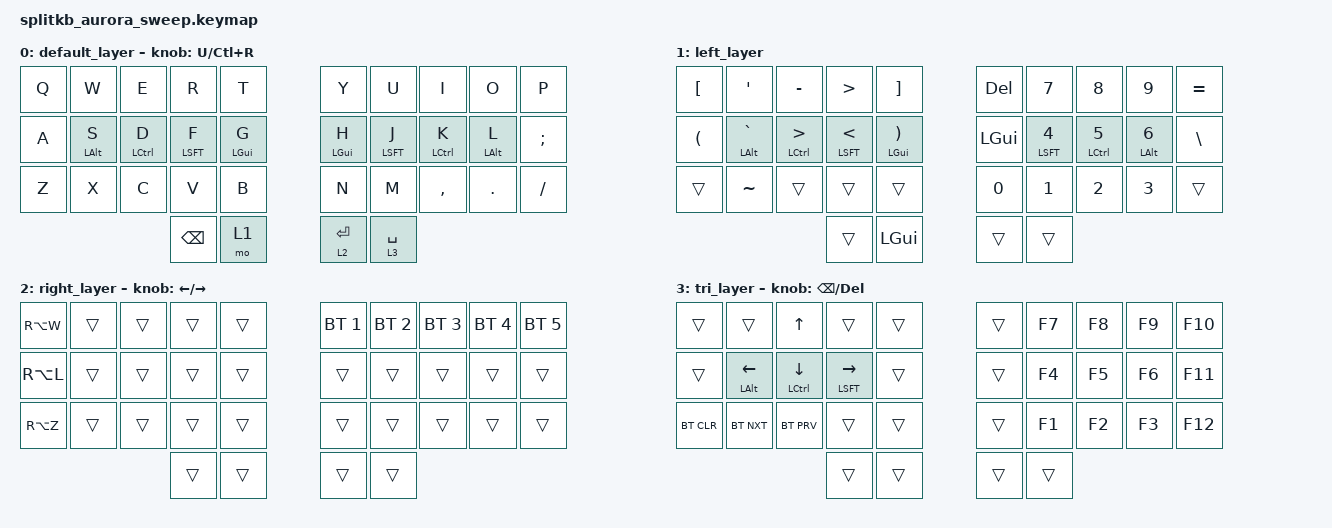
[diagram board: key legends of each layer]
/*
 * Copyright (c) 2022 The ZMK Contributors
 *
 * SPDX-License-Identifier: MIT
 */

#include <behaviors.dtsi>
#include <dt-bindings/zmk/keys.h>
#include <dt-bindings/zmk/bt.h>

#define LEFT_HAND_KEYS           \
        0  1  2  3  4            \
       10 11 12 13 14            \
       20 21 22 23 24
#define RIGHT_HAND_KEYS          \
        5  6  7  8  9            \
       15 16 17 18 19            \
       25 26 27 28 29
#define THUMB_KEYS 31 32 33 34

#define QUICKTAP 170
#define TAPPINGTERM 170

&lt {
  flavor = "balanced";
  tapping_term_ms = <180>;
  quick_tap_ms = <250>;
};

&sensors {
  triggers-per-rotation = <40>;
};

&caps_word {
  continue-list = <UNDERSCORE MINUS>;
};

/ {
    combos {
      compatible = "zmk,combos";
      combo_tab {
        timeout-ms = <30>;
        key-positions = <13 12>;
        bindings = <&kp TAB>;
      };

      combo_esc {
        timeout-ms = <30>;
        key-positions = <16 17>;
        bindings = <&kp ESC>;
      };
      combo_capsword {
        timeout-ms = <50>;
        key-positions = <13 16>;
        bindings = <&caps_word>;
      };
      combo_del {
        timeout-ms = <30>;
        key-positions = <6 7>;
        bindings = <&kp DEL>;
      };
      combo_bksp {
        timeout-ms = <30>;
        key-positions = <2 3>;
        bindings = <&kp BKSP>;
      };
    };
    
    behaviors {
        lht: left_positional_hold_tap {
            compatible = "zmk,behavior-hold-tap";
            #binding-cells = <2>;
            flavor = "balanced";
            tapping-term-ms = <TAPPINGTERM>;
            quick-tap-ms = <QUICKTAP>;
            bindings = <&kp>, <&kp>;
            require-prior-idle-ms = <60>;
            hold-trigger-key-positions = <RIGHT_HAND_KEYS THUMB_KEYS>;
        };
        rht: right_positional_hold_tap {
            compatible = "zmk,behavior-hold-tap";
            #binding-cells = <2>;
            flavor = "balanced";
            tapping-term-ms = <TAPPINGTERM>;
            quick-tap-ms = <QUICKTAP>;
            bindings = <&kp>, <&kp>;
            require-prior-idle-ms = <60>;
            hold-trigger-key-positions = <LEFT_HAND_KEYS THUMB_KEYS>;
        };
        lsf: left_shift {
            compatible = "zmk,behavior-hold-tap";
            #binding-cells = <2>;
            flavor = "balanced";
            tapping-term-ms = <TAPPINGTERM>;
            quick-tap-ms = <QUICKTAP>;
            bindings = <&kp>, <&kp>;
            hold-trigger-key-positions = <RIGHT_HAND_KEYS THUMB_KEYS>;
        };
        rsf: right_shift {
            compatible = "zmk,behavior-hold-tap";
            #binding-cells = <2>;
            flavor = "balanced";
            tapping-term-ms = <TAPPINGTERM>;
            quick-tap-ms = <QUICKTAP>;
            bindings = <&kp>, <&kp>;
            hold-trigger-key-positions = <LEFT_HAND_KEYS THUMB_KEYS>;
        };

    };

    keymap {
       compatible = "zmk,keymap";

       default_layer {
        sensor-bindings = <&inc_dec_kp U LC(R)>;
        bindings = <
        &kp Q        &kp W             &kp E           &kp R            &kp T                 &kp Y        &kp U            &kp I           &kp O           &kp P
        &kp A        &lht LALT S       &lht LCTL D     &lsf LSFT F      &lht LGUI G           &rht LGUI H  &rsf LSFT J      &rht LCTL K     &rht LALT L     &kp SCLN
        &kp Z        &kp X             &kp C           &kp V            &kp B                 &kp N        &kp M            &kp CMMA        &kp DOT         &kp SLASH
                                                       &kp BKSP         &mo 1                 &lt 2 RET    &lt 3 SPC
        >;
       };

       left_layer {
        bindings = <
        &kp LBKT     &kp QUOT          &kp MINUS       &kp GT           &kp RBKT              &kp DEL      &kp NUM_7        &kp NUM_8       &kp NUM_9       &kp EQUAL
        &kp LPRN     &lht LALT GRAVE   &lht LCTL GT    &lsf LSFT LT     &lht LGUI RPRN        &kp LGUI     &rsf LSFT NUM_4  &rht LCTL NUM_5 &rht LALT NUM_6 &kp BSLH
        &trans       &kp TILDE         &trans          &trans           &trans                &kp NUM_0    &kp NUM_1        &kp NUM_2       &kp NUM_3       &trans
                                                       &trans           &kp LGUI              &trans       &trans
        >;
       };

       right_layer {
        sensor-bindings = <&inc_dec_kp LEFT RIGHT>;
        bindings = <
        &kp RA(W)    &trans            &trans          &trans           &trans                &bt BT_SEL 1 &bt BT_SEL 2     &bt BT_SEL 3    &bt BT_SEL 4    &bt BT_SEL 5
        &kp RA(L)    &trans            &trans          &trans           &trans                &trans       &trans           &trans          &trans          &trans
        &kp RA(Z)    &trans            &trans          &trans           &trans                &trans       &trans           &trans          &trans          &trans
                                                       &trans           &trans                &trans       &trans
        >;
       };

       tri_layer {
        sensor-bindings = <&inc_dec_kp BKSP DEL>;
        bindings = <
        &trans       &trans            &kp UP          &trans           &trans                &trans       &kp F7           &kp F8          &kp F9          &kp F10
        &trans       &lht LALT LEFT    &lht LCTL DOWN  &lht LSFT RIGHT  &trans                &trans       &kp F4           &kp F5          &kp F6          &kp F11
        &bt BT_CLR   &bt BT_NXT        &bt BT_PRV      &trans           &trans                &trans       &kp F1           &kp F2          &kp F3          &kp F12
                                                       &trans           &trans                &trans       &trans
        >;
       };

    };
};
